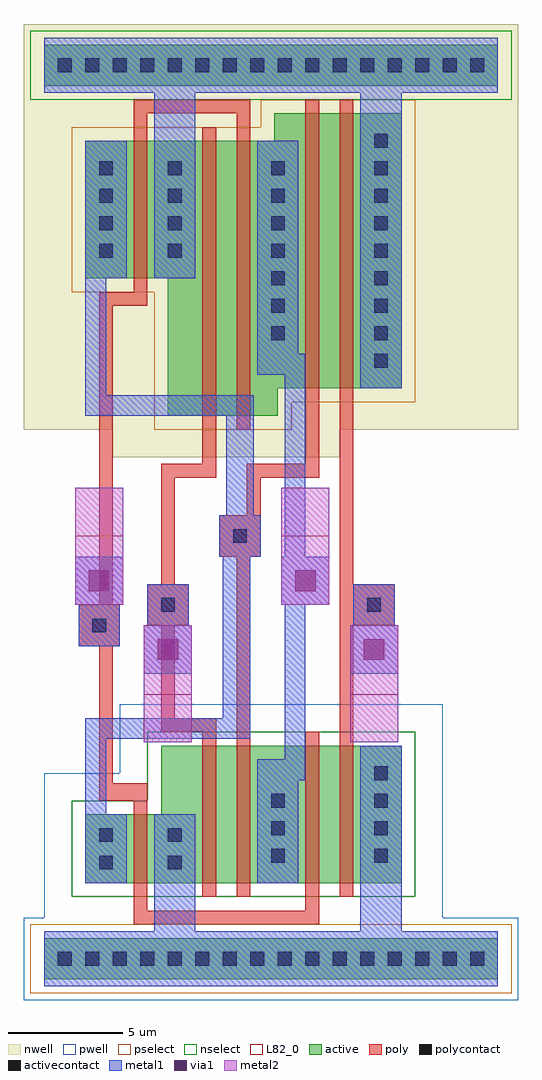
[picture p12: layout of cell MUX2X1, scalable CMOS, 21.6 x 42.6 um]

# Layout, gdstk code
import gdstk
lib = gdstk.Library(unit=1e-6, precision=1e-09)
def R(c, l, rs):  # rectangles x0, y0, x1, y1
    for r in rs: c.add(gdstk.rectangle(r[:2], r[2:], *l))
def A(c, l, x, y, w, h, nx, ny, dx, dy):  # array of equal rectangles
    R(c, l, [(x+i*dx, y+j*dy, x+i*dx+w, y+j*dy+h) for i in range(nx) for j in range(ny)])
pwell = (41, 0)
nwell = (42, 0)
active = (43, 0)
pselect = (44, 0)
nselect = (45, 0)
poly = (46, 0)
polycontact = (47, 0)
activecontact = (48, 0)
metal1 = (49, 0)
via1 = (50, 0)
metal2 = (51, 0)
L82_0 = (82, 0)

mux2x1 = lib.new_cell('MUX2X1')
R(mux2x1, pwell, [(-1.8,-1.8,19.8,1.8), (-0.9,1.8,16.5,8.1), (2.4,8.1,16.5,11.1)])
R(mux2x1, nwell, [(2.1,21.9,12,23.1), (-1.8,23.1,19.8,40.8)])
R(mux2x1, active, [(-0.9,-0.9,18.9,0.9), (0.9,3.3,14.7,6.3), (4.2,6.3,14.7,9.3), (4.5,23.7,9.3,24.9), (4.5,24.9,14.7,29.7), (0.9,29.7,14.7,35.7), (9.15,35.7,14.7,36.9), (-0.9,38.1,18.9,39.9)])
R(mux2x1, pselect, [(-1.5,-1.5,19.5,1.5), (3.9,23.1,9.9,24.3), (3.9,24.3,15.3,29.1), (0.3,29.1,15.3,36.3), (8.55,36.3,15.3,37.5)])
R(mux2x1, nselect, [(0.3,2.7,15.3,6.9), (3.6,6.9,15.3,9.9), (-1.5,37.5,19.5,40.5)])
R(mux2x1, poly, [(3,1.5,11.1,2.1), (3,2.1,3.6,6.9), (10.5,2.1,11.1,9.9), (6,2.7,6.6,9.9), (7.5,2.7,8.1,17.55), (12,2.7,12.6,14.55), (1.5,6.9,3.6,7.65), (1.5,7.65,2.1,13.65), (4.2,9.9,6.6,10.5), (4.2,10.5,4.8,14.55), (0.6,13.65,2.4,15.45), (3.6,14.55,5.4,16.35), (12,14.55,14.4,16.35), (1.5,15.45,2.1,28.5), (4.2,16.35,4.8,21), (12,16.35,12.6,37.5), (6.75,17.55,8.55,19.35), (7.95,19.35,8.55,21), (4.2,21,6.6,21.6), (7.95,21,11.1,21.6), (6,21.6,6.6,36.3), (10.5,21.6,11.1,37.5), (7.5,23.1,8.1,36.9), (1.5,28.5,3.6,29.1), (3,29.1,3.6,36.9), (3,36.9,8.1,37.5)])
R(mux2x1, polycontact, [(1.2,14.25,1.8,14.85), (4.2,15.15,4.8,15.75), (13.2,15.15,13.8,15.75), (7.35,18.15,7.95,18.75)])
A(mux2x1, activecontact, -0.3, -0.3, 0.6, 0.6, 16, 2, 1.2, 39)
A(mux2x1, activecontact, 9, 4.2, 0.6, 0.6, 1, 3, 0, 1.2)
A(mux2x1, activecontact, 13.5, 4.2, 0.6, 0.6, 1, 4, 0, 1.2)
A(mux2x1, activecontact, 13.5, 25.8, 0.6, 0.6, 1, 4, 0, 1.2)
A(mux2x1, activecontact, 9, 27, 0.6, 0.6, 1, 3, 0, 1.2)
A(mux2x1, activecontact, 1.5, 30.6, 0.6, 0.6, 1, 4, 0, 1.2)
A(mux2x1, activecontact, 4.5, 30.6, 0.6, 0.6, 3, 4, 4.5, 1.2)
R(mux2x1, activecontact, [(1.5,3.9,2.1,4.5), (4.5,3.9,5.1,4.5), (1.5,5.1,2.1,5.7), (4.5,5.1,5.1,5.7), (13.5,35.4,14.1,36)])
R(mux2x1, metal1, [(-0.9,-1.2,18.9,1.2), (3.9,1.2,5.7,6.3), (12.9,1.2,14.7,9.3), (0.9,3.3,2.7,6.3), (8.4,3.3,10.2,7.8), (0.9,6.3,1.8,9.6), (8.4,7.8,10.5,8.7), (9.6,8.7,10.5,15.45), (0.9,9.6,8.1,10.5), (6.9,10.5,8.1,17.55), (3.45,12.45,5.55,14.55), (12.45,12.45,14.55,14.55), (0.6,13.65,2.4,15.45), (3.6,14.55,5.4,16.35), (12.6,14.55,14.4,16.35), (0.45,15.45,2.55,17.55), (9.45,15.45,11.55,17.55), (6.75,17.55,8.55,19.35), (9.6,17.55,10.5,25.5), (7.05,19.35,8.25,23.7), (0.9,23.7,8.25,24.6), (0.9,24.6,1.8,29.7), (12.9,24.9,14.7,37.8), (8.4,25.5,10.5,26.4), (8.4,26.4,10.2,35.7), (0.9,29.7,2.7,35.7), (3.9,29.7,5.7,37.8), (-0.9,37.8,18.9,40.2)])
R(mux2x1, via1, [(4.05,13.05,4.95,13.95), (13.05,13.05,13.95,13.95), (1.05,16.05,1.95,16.95), (10.05,16.05,10.95,16.95)])
R(mux2x1, metal2, [(3.45,9.45,5.55,14.55), (12.45,9.45,14.55,14.55), (0.45,15.45,2.55,20.55), (9.45,15.45,11.55,20.55)])
R(mux2x1, L82_0, [(3.45,9.45,5.55,11.55), (12.45,9.45,14.55,11.55), (0.45,18.45,2.55,20.55), (9.45,18.45,11.55,20.55)])

lib.write_gds('MUX2X1.gds')
